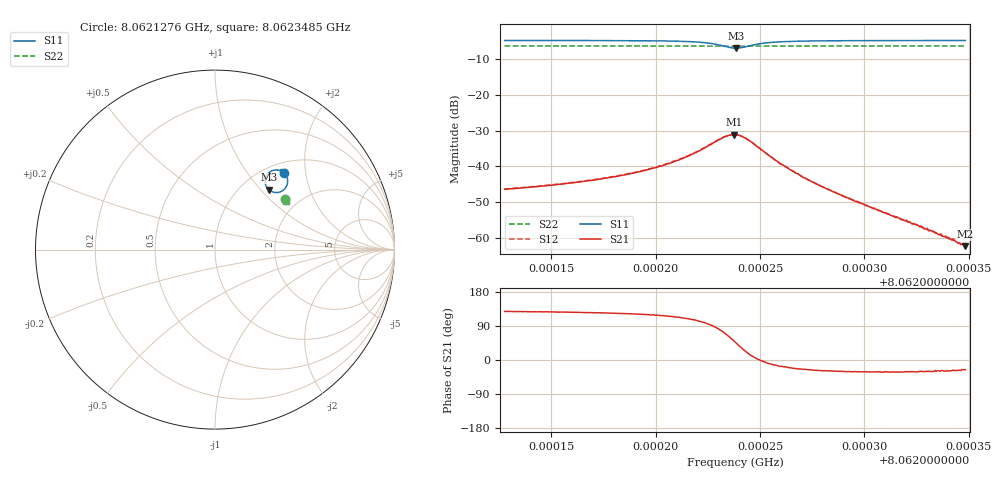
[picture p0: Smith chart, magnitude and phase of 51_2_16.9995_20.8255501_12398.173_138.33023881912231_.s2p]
#  HZ  S  RI  R  50.00
! Rohde & Schwarz Vector Network Analyzer
! Rohde-Schwarz,ZNB20-2Port,1311601062101988,3.16
! Created: UTC 3/20/2024, 10:54:18 PM
! freq[Hz]  re:S11  im:S11  re:S21  im:S21  re:S12  im:S12  re:S22  im:S22
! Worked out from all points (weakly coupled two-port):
!   401 points, 8.0621276 GHz to 8.0623485 GHz, reference 50 ohm
!   highest |S21| = -31.16 dB at 8.0622375 GHz (marker M1); lowest = -62.3 dB at 8.0623485 GHz (marker M2)
!   lowest |S11| = -7.0 dB at 8.0622386 GHz (marker M3), VSWR 2.63, Z = 66.3 + j55.5 ohm
!   |S11| at or under -10 dB: nowhere
!   |S22| runs from -6.4 to -6.3 dB; largest |S21 - S12| = 0.0023
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8.06212757e9  0.3866 0.4259  -0.00295 0.00374  -0.00274 0.00395  0.3897 0.283
8.06215022e9  0.3897 0.4223  -0.00326 0.00434  -0.00304 0.00463  0.3906 0.2819
8.06216458e9  0.3923 0.4189  -0.00353 0.00498  -0.00327 0.00522  0.3912 0.281
8.06218446e9  0.3968 0.412  -0.00407 0.00634  -0.00373 0.00667  0.3917 0.2797
8.06220158e9  0.4017 0.4006  -0.00459 0.00877  -0.00411 0.00927  0.3923 0.2784
8.06221484e9  0.4049 0.3814  -0.00451 0.0127  -0.00377 0.0133  0.3924 0.277
8.06222533e9  0.3963 0.3491  -0.00154 0.0194  -0.000382 0.0197  0.3923 0.2752
8.06223307e9  0.3544 0.3189  0.00838 0.0243  0.0103 0.024  0.3901 0.2743
8.06223749e9  0.3098 0.3265  0.0176 0.0213  0.0194 0.0201  0.3884 0.2752
8.06223804e9  0.3045 0.3299  0.0187 0.0204  0.0202 0.0191  0.3882 0.2753
8.06223859e9  0.2997 0.3339  0.0195 0.0195  0.0211 0.018  0.3881 0.2757
8.0622408e9  0.2848 0.3539  0.0221 0.0148  0.0233 0.013  0.388 0.2765
8.06224411e9  0.279 0.3862  0.0224 0.00747  0.0229 0.00594  0.3885 0.2779
8.06225185e9  0.3033 0.4307  0.0161 -0.00126  0.0158 -0.00239  0.3902 0.279
8.06226013e9  0.3286 0.4426  0.0102 -0.00306  0.0101 -0.00381  0.3917 0.2787
8.06227505e9  0.3521 0.4432  0.00542 -0.00272  0.00528 -0.00305  0.3932 0.2775
8.06229162e9  0.364 0.4399  0.00315 -0.00187  0.00304 -0.00205  0.3942 0.2765
8.06231205e9  0.3719 0.4365  0.00179 -0.00112  0.00175 -0.00122  0.395 0.2753
8.06232476e9  0.3749 0.4348  0.0013 -0.000806  0.00126 -0.000861  0.3954 0.2746
8.06233967e9  0.3779 0.4329  0.00089 -0.000465  0.000871 -0.000538  0.3961 0.2738
8.06234575e9  0.3791 0.4322  0.000743 -0.000381  0.000732 -0.000424  0.3963 0.2736
8.06234851e9  0.3794 0.4319  0.000689 -0.000328  0.000673 -0.000409  0.3964 0.2732
